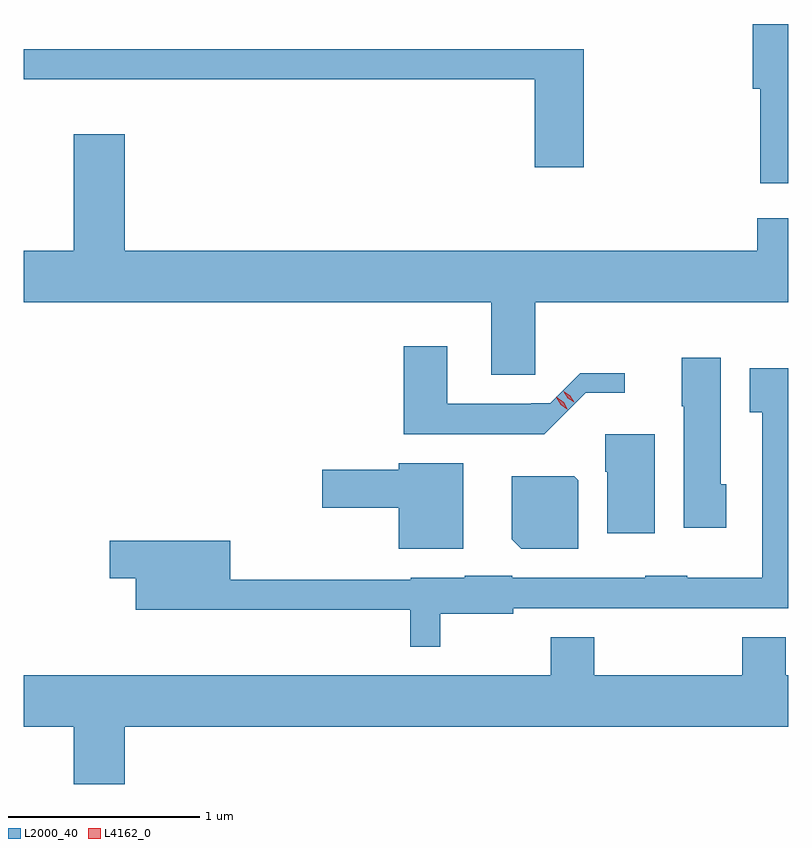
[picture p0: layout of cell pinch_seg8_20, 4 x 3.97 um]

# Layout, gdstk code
import gdstk
lib = gdstk.Library(unit=1e-6, precision=1e-09)
def P(c, l, *ps):  # polygons
    for p in ps: c.add(gdstk.Polygon(p, *l))
L2000_40 = (2000, 40)
L4162_0 = (4162, 0)

pinch_seg8_20 = lib.new_cell('pinch_seg8_20')
P(pinch_seg8_20, L2000_40, [(1797.234,1848.97),(1797.046,1848.97),(1797.046,1848.631),(1797.086,1848.631),(1797.086,1848.136),(1797.234,1848.136)],
  [(1796.164,1848.839),(1793.234,1848.839),(1793.234,1848.681),(1795.906,1848.681),(1795.906,1848.221),(1796.164,1848.221)],
  [(1795.909,1847.516),(1797.234,1847.516),(1797.234,1847.954),(1797.071,1847.954),(1797.071,1847.784),(1793.764,1847.784),(1793.764,1848.394),(1793.496,1848.394),(1793.496,1847.784),(1793.234,1847.784),(1793.234,1847.516),(1795.681,1847.516),(1795.681,1847.136),(1795.909,1847.136)],
  [(1796.175,1847.043),(1796.378,1847.043),(1796.378,1847.143),(1796.144,1847.143),(1795.988,1846.986),(1795.89,1846.986),(1795.89,1846.984),(1795.449,1846.984),(1795.449,1847.284),(1795.221,1847.284),(1795.221,1846.826),(1795.958,1846.826)],
  [(1796.909,1846.564),(1796.879,1846.564),(1796.879,1847.224),(1796.676,1847.224),(1796.676,1846.97),(1796.686,1846.97),(1796.686,1846.336),(1796.909,1846.336)],
  [(1795.414,1845.886),(1795.794,1845.886),(1795.794,1845.916),(1797.234,1845.916),(1797.234,1847.169),(1797.031,1847.169),(1797.031,1846.941),(1797.096,1846.941),(1797.096,1846.074),(1796.705,1846.074),(1796.705,1846.084),(1796.485,1846.084),(1796.485,1846.074),(1795.79,1846.074),(1795.79,1846.084),(1795.54,1846.084),(1795.54,1846.074),(1795.26,1846.074),(1795.26,1846.064),(1794.314,1846.064),(1794.314,1846.269),(1793.686,1846.269),(1793.686,1846.071),(1793.821,1846.071),(1793.821,1845.906),(1795.256,1845.906),(1795.256,1845.713),(1795.414,1845.713)],
  [(1796.534,1846.824),(1796.276,1846.824),(1796.276,1846.63),(1796.286,1846.63),(1796.286,1846.306),(1796.534,1846.306)],
  [(1795.534,1846.674),(1795.196,1846.674),(1795.196,1846.639),(1794.796,1846.639),(1794.796,1846.441),(1795.196,1846.441),(1795.196,1846.226),(1795.534,1846.226)],
  [(1796.134,1846.584),(1796.114,1846.604),(1795.786,1846.604),(1795.786,1846.277),(1795.837,1846.226),(1796.134,1846.226)],
  [(1793.764,1845.296),(1797.234,1845.296),(1797.234,1845.564),(1797.219,1845.564),(1797.219,1845.764),(1796.991,1845.764),(1796.991,1845.564),(1796.219,1845.564),(1796.219,1845.764),(1795.991,1845.764),(1795.991,1845.564),(1793.234,1845.564),(1793.234,1845.296),(1793.496,1845.296),(1793.496,1844.996),(1793.764,1844.996)])
P(pinch_seg8_20, L4162_0, [(1796.08,1846.952),(1796.042,1846.979),(1796.019,1847.019),(1796.019,1847.02),(1796.02,1847.02),(1796.058,1846.992),(1796.081,1846.952),(1796.081,1846.952)],
  [(1796.114,1846.991),(1796.079,1847.013),(1796.059,1847.048),(1796.059,1847.049),(1796.059,1847.049),(1796.094,1847.027),(1796.115,1846.992),(1796.115,1846.991)])

lib.write_gds('pinch_seg8_20.gds')
